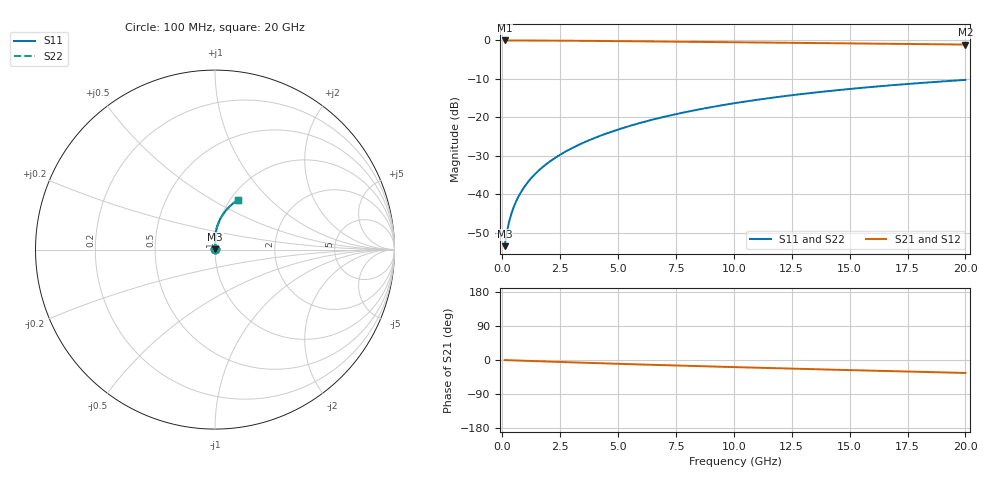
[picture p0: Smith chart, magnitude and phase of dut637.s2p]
! Touchstone file exported from HFSS 2024.1.0
!  File:  C:/UserFiles/LocalFiles/RDL_TSV_Batchsim/temp_RDL_top_637_1779780831.aedt
!  Generated:  03:35:54 PM May 26, 2026
!  Design:  RDL_top
!  Project:  temp_RDL_top_637_1779780831
!  Setup:  Setup1
!  Solution:  Sweep
! Variables:
!  dtsv = 10.80580581um
!  hbump = 3um
!  htsv = 77.69um
!  ldown = 100um
!  lrdl = 474.38um
!  p = 40
!  p1 = 57.11um
!  rhole = 1um
!  t = 450um
!  tdown = 3.915915916um
!  trdl = 4.66um
!  wdown = 15.38538539um
!  wrdl = 26.43um
# GHz S MA R 50.000000
! Terminal data exported
! Port[1] = Box2_T1
! Port[2] = Box2_T2
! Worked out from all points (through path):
!   200 points, 100 MHz to 20 GHz, reference 50 ohm
!   highest |S21| = -0.01 dB at 100 MHz (marker M1); lowest = -1.1 dB at 20 GHz (marker M2)
!   group delay of S21, straight-line fit = 4.68 ps
!   lowest |S11| = -53.5 dB at 100 MHz (marker M3), VSWR 1.00, Z = 50.2 + j0.143 ohm
!   |S11| at or under -10 dB: start of sweep to end of sweep
!   |S22| runs from -53.5 to -10.3 dB; largest |S21 - S12| = 2.7e-15
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0.1  0.002114 42.6  0.9984 -0.2  0.9984 -0.2  0.002114 42.6
! Gamma 0 0 0 0
! Port Impedance 50 0 50 0
0.2  0.003253 59.4  0.9983 -0.4  0.9983 -0.4  0.003253 59.4
0.3  0.004467 66.8  0.9981 -0.6  0.9981 -0.6  0.004467 66.8
0.4  0.00568 71.1  0.998 -0.9  0.998 -0.9  0.00568 71.2
0.5  0.006892 74.1  0.9978 -1.1  0.9978 -1.1  0.006891 74.1
0.6  0.008107 76.4  0.9977 -1.3  0.9977 -1.3  0.008106 76.4
0.8  0.01056 79.5  0.9974 -1.7  0.9974 -1.7  0.01056 79.5
1.1  0.0143 82.5  0.9968 -2.3  0.9968 -2.3  0.0143 82.5
1.5  0.0194 84.9  0.9958 -3.2  0.9958 -3.2  0.0194 84.9
1.8  0.02331 86.1  0.9949 -3.8  0.9949 -3.8  0.02331 86.1
2.1  0.02727 87.0  0.9939 -4.4  0.9939 -4.4  0.02728 87.0
2.7  0.03542 88.1  0.9914 -5.6  0.9914 -5.6  0.03543 88.2
3.5  0.04675 88.9  0.9875 -7.2  0.9875 -7.2  0.04676 88.9
4.2  0.05709 89.1  0.9836 -8.5  0.9836 -8.5  0.0571 89.1
5  0.06936 88.9  0.9788 -10.1  0.9788 -10.1  0.06938 88.9
6.8  0.09838 87.3  0.9673 -13.3  0.9673 -13.3  0.09841 87.3
8.4  0.1251 85.1  0.9568 -16.1  0.9568 -16.1  0.1252 85.1
10.1  0.1538 82.3  0.9458 -18.9  0.9458 -18.9  0.1539 82.3
11.7  0.1806 79.5  0.9356 -21.5  0.9356 -21.5  0.1807 79.5
13.4  0.2084 76.4  0.9248 -24.2  0.9248 -24.2  0.2085 76.4
16.7  0.2596 70.5  0.9039 -29.3  0.9039 -29.3  0.2597 70.6
20  0.3065 65.0  0.8829 -34.2  0.8829 -34.2  0.3067 65.0
